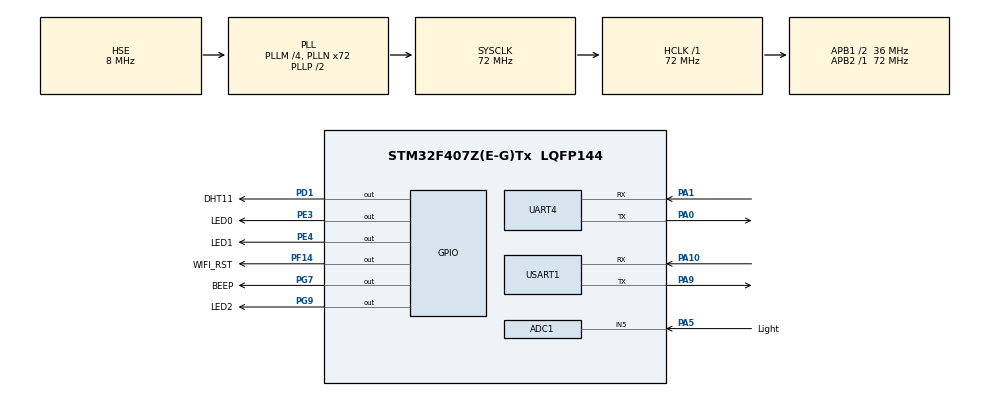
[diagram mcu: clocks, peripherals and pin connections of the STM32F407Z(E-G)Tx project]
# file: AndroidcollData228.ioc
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ADC1.Channel-0\#ChannelRegularConversion=ADC_CHANNEL_5
ADC1.NbrOfConversionFlag=1
ADC1.Rank-0\#ChannelRegularConversion=1
ADC1.SamplingTime-0\#ChannelRegularConversion=ADC_SAMPLETIME_3CYCLES
ADC1.master=1
FREERTOS.Tasks01=WIFISendTask,0,128,StartWIFISendTask,Default,NULL,Dynamic,NULL,NULL;WIFIRecTask,-3,128,StartWIFIRecTask,Default,NULL,Dynamic,NULL,NULL;DHT11Task,0,128,StartDHT11Task,Default,NULL,Dynamic,NULL,NULL;LightTask,0,128,StarLightTask,Default,NULL,Dynamic,NULL,NULL
Mcu.Family=STM32F4
Mcu.Name=STM32F407Z(E-G)Tx
Mcu.Package=LQFP144
NVIC.ADC_IRQn=true\:5\:0\:false\:false\:true\:true\:true\:true
NVIC.PriorityGroup=NVIC_PRIORITYGROUP_4
NVIC.UART4_IRQn=true\:5\:0\:false\:false\:true\:true\:true\:true
NVIC.USART1_IRQn=true\:5\:0\:false\:false\:true\:true\:true\:true
PA0-WKUP.Mode=Asynchronous
PA0-WKUP.Signal=UART4_TX
PA1.Mode=Asynchronous
PA1.Signal=UART4_RX
PA10.Mode=Asynchronous
PA10.Signal=USART1_RX
PA5.GPIO_Label=Light
PA5.Signal=ADCx_IN5
PA9.Mode=Asynchronous
PA9.Signal=USART1_TX
PD1.GPIO_Label=DHT11
PD1.Signal=GPIO_Output
PE3.GPIO_Label=LED0
PE3.PinState=GPIO_PIN_SET
PE3.Signal=GPIO_Output
PE4.GPIO_Label=LED1
PE4.PinState=GPIO_PIN_SET
PE4.Signal=GPIO_Output
PF14.GPIO_Label=WIFI_RST
PF14.Signal=GPIO_Output
PG7.GPIO_Label=BEEP
PG7.Signal=GPIO_Output
PG9.GPIO_Label=LED2
PG9.PinState=GPIO_PIN_SET
PG9.Signal=GPIO_Output
PH0-OSC_IN.Mode=HSE-External-Oscillator
PH0-OSC_IN.Signal=RCC_OSC_IN
PH1-OSC_OUT.Mode=HSE-External-Oscillator
PH1-OSC_OUT.Signal=RCC_OSC_OUT
ProjectManager.HeapSize=0x200
ProjectManager.StackSize=0x400
ProjectManager.TargetToolchain=MDK-ARM V5.27
RCC.48MHZClocksFreq_Value=36000000
RCC.AHBFreq_Value=72000000
RCC.APB1CLKDivider=RCC_HCLK_DIV2
RCC.APB1Freq_Value=36000000
RCC.APB1TimFreq_Value=72000000
RCC.APB2Freq_Value=72000000
RCC.APB2TimFreq_Value=72000000
RCC.CortexFreq_Value=72000000
RCC.HCLKFreq_Value=72000000
RCC.HSE_VALUE=8000000
RCC.HSI_VALUE=16000000
RCC.LSE_VALUE=32768
RCC.PLLM=4
RCC.PLLN=72
RCC.PLLSourceVirtual=RCC_PLLSOURCE_HSE
RCC.SYSCLKFreq_VALUE=72000000
RCC.SYSCLKSource=RCC_SYSCLKSOURCE_PLLCLK
RCC.VCOOutputFreq_Value=144000000
SH.ADCx_IN5.0=ADC1_IN5,IN5
UART4.VirtualMode=Asynchronous
USART1.VirtualMode=VM_ASYNC
VP_FREERTOS_VS_CMSIS_V1.Mode=CMSIS_V1
board=custom

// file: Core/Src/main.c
/* USER CODE BEGIN Header */
/**
  ******************************************************************************
  * @file           : main.c
  * @brief          : Main program body
  ******************************************************************************
  * @attention
  *
  * <h2><center>&copy; Copyright (c) 2021 STMicroelectronics.
  * All rights reserved.</center></h2>
  *
  * This software component is licensed by ST under Ultimate Liberty license
  * SLA0044, the "License"; You may not use this file except in compliance with
  * the License. You may obtain a copy of the License at:
  *                             www.st.com/SLA0044
  *
  ******************************************************************************
  */
/* USER CODE END Header */
#include "main.h"
#include "cmsis_os.h"
#include "adc.h"
#include "usart.h"
#include "gpio.h"

void SystemClock_Config(void);
void MX_FREERTOS_Init(void);

int main(void)
{

  /* MCU Configuration--------------------------------------------------------*/

  /* Reset of all peripherals, Initializes the Flash interface and the Systick. */
  HAL_Init();

  /* Configure the system clock */
  SystemClock_Config();

  /* Initialize all configured peripherals */
  MX_GPIO_Init();
  MX_ADC1_Init();
  MX_UART4_Init();
  MX_USART1_UART_Init();
  /* USER CODE BEGIN 2 */
	ESP8266_Station_Config();
	DHT11_Init();

  /* USER CODE END 2 */

  /* Call init function for freertos objects (in freertos.c) */
  MX_FREERTOS_Init();
  /* Start scheduler */
  osKernelStart();

  /* We should never get here as control is now taken by the scheduler */
  /* Infinite loop */
  while (1)
  {

  }
}

void SystemClock_Config(void)
{
  RCC_OscInitTypeDef RCC_OscInitStruct = {0};
  RCC_ClkInitTypeDef RCC_ClkInitStruct = {0};

  /** Configure the main internal regulator output voltage
  */
  __HAL_RCC_PWR_CLK_ENABLE();
  __HAL_PWR_VOLTAGESCALING_CONFIG(PWR_REGULATOR_VOLTAGE_SCALE1);
  /** Initializes the RCC Oscillators according to the specified parameters
  * in the RCC_OscInitTypeDef structure.
  */
  RCC_OscInitStruct.OscillatorType = RCC_OSCILLATORTYPE_HSE;
  RCC_OscInitStruct.HSEState = RCC_HSE_ON;
  RCC_OscInitStruct.PLL.PLLState = RCC_PLL_ON;
  RCC_OscInitStruct.PLL.PLLSource = RCC_PLLSOURCE_HSE;
  RCC_OscInitStruct.PLL.PLLM = 4;
  RCC_OscInitStruct.PLL.PLLN = 72;
  RCC_OscInitStruct.PLL.PLLP = RCC_PLLP_DIV2;
  RCC_OscInitStruct.PLL.PLLQ = 4;
  if (HAL_RCC_OscConfig(&RCC_OscInitStruct) != HAL_OK)
  {
    Error_Handler();
  }
  /** Initializes the CPU, AHB and APB buses clocks
  */
  RCC_ClkInitStruct.ClockType = RCC_CLOCKTYPE_HCLK|RCC_CLOCKTYPE_SYSCLK
                              |RCC_CLOCKTYPE_PCLK1|RCC_CLOCKTYPE_PCLK2;
  RCC_ClkInitStruct.SYSCLKSource = RCC_SYSCLKSOURCE_PLLCLK;
  RCC_ClkInitStruct.AHBCLKDivider = RCC_SYSCLK_DIV1;
  RCC_ClkInitStruct.APB1CLKDivider = RCC_HCLK_DIV2;
  RCC_ClkInitStruct.APB2CLKDivider = RCC_HCLK_DIV1;

  if (HAL_RCC_ClockConfig(&RCC_ClkInitStruct, FLASH_LATENCY_2) != HAL_OK)
  {
    Error_Handler();
  }
}

void Error_Handler(void)
{
  __disable_irq();
  while (1)
  {
  }
}

/************************ (C) COPYRIGHT STMicroelectronics *****END OF FILE****/

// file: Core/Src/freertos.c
/* USER CODE BEGIN Header */
/**
  ******************************************************************************
  * File Name          : freertos.c
  * Description        : Code for freertos applications
  ******************************************************************************
  * @attention
  *
  * <h2><center>&copy; Copyright (c) 2021 STMicroelectronics.
  * All rights reserved.</center></h2>
  *
  * This software component is licensed by ST under Ultimate Liberty license
  * SLA0044, the "License"; You may not use this file except in compliance with
  * the License. You may obtain a copy of the License at:
  *                             www.st.com/SLA0044
  *
  ******************************************************************************
  */
/* USER CODE END Header */

#include "FreeRTOS.h"
#include "task.h"
#include "main.h"
#include "cmsis_os.h"

/* USER CODE BEGIN Includes */
extern short wifi_count;
extern uint8_t wifi_rxbuf[Wifi_BufSize];

float adc_val = 0;
DHT11_Data_TypeDef dht11_data;

/* USER CODE END Includes */

osThreadId WIFISendTaskHandle;
osThreadId WIFIRecTaskHandle;
osThreadId DHT11TaskHandle;
osThreadId LightTaskHandle;

void StartWIFISendTask(void const * argument);
void StartWIFIRecTask(void const * argument);
void StartDHT11Task(void const * argument);
void StarLightTask(void const * argument);

void MX_FREERTOS_Init(void); /* (MISRA C 2004 rule 8.1) */

/* GetIdleTaskMemory prototype (linked to static allocation support) */
void vApplicationGetIdleTaskMemory( StaticTask_t **ppxIdleTaskTCBBuffer, StackType_t **ppxIdleTaskStackBuffer, uint32_t *pulIdleTaskStackSize );

/* USER CODE BEGIN GET_IDLE_TASK_MEMORY */
static StaticTask_t xIdleTaskTCBBuffer;
static StackType_t xIdleStack[configMINIMAL_STACK_SIZE];

void vApplicationGetIdleTaskMemory( StaticTask_t **ppxIdleTaskTCBBuffer, StackType_t **ppxIdleTaskStackBuffer, uint32_t *pulIdleTaskStackSize )
{
  *ppxIdleTaskTCBBuffer = &xIdleTaskTCBBuffer;
  *ppxIdleTaskStackBuffer = &xIdleStack[0];
  *pulIdleTaskStackSize = configMINIMAL_STACK_SIZE;
  /* place for user code */
}
/* USER CODE END GET_IDLE_TASK_MEMORY */

void MX_FREERTOS_Init(void) {

  /* Create the thread(s) */
  /* definition and creation of WIFISendTask */
  osThreadDef(WIFISendTask, StartWIFISendTask, osPriorityNormal, 0, 128);
  WIFISendTaskHandle = osThreadCreate(osThread(WIFISendTask), NULL);

  /* definition and creation of WIFIRecTask */
  osThreadDef(WIFIRecTask, StartWIFIRecTask, osPriorityNormal, 0, 128);
  WIFIRecTaskHandle = osThreadCreate(osThread(WIFIRecTask), NULL);

  /* definition and creation of DHT11Task */
  osThreadDef(DHT11Task, StartDHT11Task, osPriorityAboveNormal, 0, 256);
  DHT11TaskHandle = osThreadCreate(osThread(DHT11Task), NULL);

  /* definition and creation of LightTask */
  osThreadDef(LightTask, StarLightTask, osPriorityNormal, 0, 128);
  LightTaskHandle = osThreadCreate(osThread(LightTask), NULL);

}

void StartWIFISendTask(void const * argument)
{
  /* USER CODE BEGIN StartWIFISendTask */
  /* Infinite loop */
	osThreadSuspend(WIFISendTaskHandle);
	char tx_buf[128];
  for(;;)
  {
      osDelay(2900);
      sprintf(tx_buf, "#,%.2f,%.2f,%.2f,$", dht11_data.temperature, dht11_data.humidity, adc_val);
      Wifi_SendData(tx_buf);
  }
  /* USER CODE END StartWIFISendTask */
}

void StartWIFIRecTask(void const * argument)
{
  /* USER CODE BEGIN StartWIFIRecTask */
  /* Infinite loop */
  for(;;)
  {
    if(wifi_count == -1)
		{
			wifi_count = 0;
			printf("%s\r\n", wifi_rxbuf);
            if(strcmp((char *)wifi_rxbuf, "open_led1") == 0)
            {
                LED0_ON();
            }
            else if(strcmp((char *)wifi_rxbuf, "close_led1") == 0)
            {
                LED0_OFF();
            }
            else if(strcmp((char *)wifi_rxbuf, "open_led2") == 0)
            {
                LED1_ON();
            }
            else if(strcmp((char *)wifi_rxbuf, "close_led2") == 0)
            {
                LED1_OFF();
            }
            else if(strcmp((char *)wifi_rxbuf, "open_led3") == 0)
            {
                LED2_ON();
            }
            else if(strcmp((char *)wifi_rxbuf, "close_led3") == 0)
            {
                LED2_OFF();
            }
            else if(strcmp((char *)wifi_rxbuf, "open_beep") == 0)
            {
               BEEP_ON();
            }
            else if(strcmp((char *)wifi_rxbuf, "close_beep") == 0)
            {
               BEEP_OFF();
            }
            else if(strcmp((char *)wifi_rxbuf, "open_DHT11") == 0)
            {
                // 恢复温湿度读取的线程
                osThreadResume(DHT11TaskHandle);
		        		osThreadResume(WIFISendTaskHandle);
            }
            else if(strcmp((char *)wifi_rxbuf, "close_DHT11") == 0)
            {
		        		dht11_data.temperature = 0;
	         			dht11_data.humidity = 0;
                  // 挂起温湿度读取的线程
                osThreadSuspend(DHT11TaskHandle);
							  osThreadSuspend(WIFISendTaskHandle);

            }
			      else if(strcmp((char *)wifi_rxbuf, "open_light") == 0)
            {
								osThreadResume(WIFISendTaskHandle);
                osThreadResume(LightTaskHandle);
            }
            else if(strcmp((char *)wifi_rxbuf, "close_light") == 0)
            {
                osThreadSuspend(LightTaskHandle);
								osThreadSuspend(WIFISendTaskHandle);
            }
            else if(strcmp((char *)wifi_rxbuf, "reset_all") == 0)
            {
                LED0_OFF();
								LED1_OFF();
								LED2_OFF();
								BEEP_OFF();
                osThreadSuspend(DHT11TaskHandle);
							  osThreadSuspend(WIFIRecTaskHandle);
								osThreadSuspend(LightTaskHandle);

            }
            memset(wifi_rxbuf, 0, sizeof(wifi_rxbuf));
  }
}
  /* USER CODE END StartWIFIRecTask */
}

void StartDHT11Task(void const * argument)
{
  /* USER CODE BEGIN StartDHT11Task */
  /* Infinite loop */
	dht11_data.humidity=0;
	dht11_data.temperature=0;
	osThreadSuspend(DHT11TaskHandle);
  for(;;)
  {
		osDelay(2500);
    if(DHT11_Read_TempAndHumidity(&dht11_data)==SUCCESS)
		{
			printf("成功读取温湿度信息\r\n");
		}
		else
		{
			printf("读取温湿度失败\r\n");
		}
  }
  /* USER CODE END StartDHT11Task */
}

void StarLightTask(void const * argument)
{
  /* USER CODE BEGIN StarLightTask */
  /* Infinite loop */
	adc_val=0;
	osThreadSuspend(LightTaskHandle);
  for(;;)
  {
    HAL_ADC_Start(&hadc1);
		if(HAL_ADC_PollForConversion(&hadc1,200)==HAL_OK)
		{
			adc_val=HAL_ADC_GetValue(&hadc1)*(3300.0/4096.0);
			printf("成功获取环境光信息\r\n");
		}
		else
		{
			printf("读取光敏电阻失败\r\n");
		}
		osDelay(2600);
		HAL_ADC_Stop(&hadc1);
		osDelay(100);
  }
  /* USER CODE END StarLightTask */
}

/************************ (C) COPYRIGHT STMicroelectronics *****END OF FILE****/
